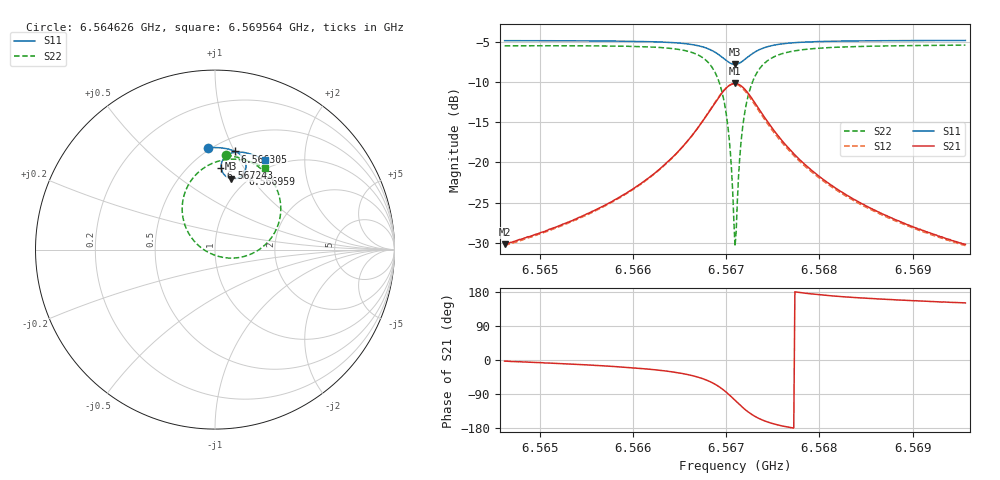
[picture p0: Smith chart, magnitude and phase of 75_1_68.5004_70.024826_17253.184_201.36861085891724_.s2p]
#  HZ  S  RI  R  50.00
! Rohde & Schwarz Vector Network Analyzer
! Rohde-Schwarz,ZNB20-2Port,1311601062101988,3.16
! Created: UTC 3/20/2024, 4:51:54 PM
! freq[Hz]  re:S11  im:S11  re:S21  im:S21  re:S12  im:S12  re:S22  im:S22
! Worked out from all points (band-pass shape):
!   401 points, 6.564626 GHz to 6.569564 GHz, reference 50 ohm
!   highest |S21| = -10.21 dB at 6.567095 GHz (marker M1); lowest = -30.2 dB at 6.564626 GHz (marker M2)
!   |S21| within 3 dB of the highest: 6.566847 GHz to 6.567342 GHz (495 kHz wide, 0.00754 % of centre)
!   lowest |S11| = -7.8 dB at 6.567095 GHz (marker M3), VSWR 2.36, Z = 42.2 + j40 ohm
!   |S11| at or under -10 dB: nowhere
!   |S22| runs from -30.4 to -5.4 dB; largest |S21 - S12| = 0.016
!   S11 on the Smith chart (normalised r, x): 6.564626 GHz: 0.48, +0.81; 6.566305 GHz: 0.63, +1.01; 6.566959 GHz: 0.90, +0.95; 6.567243 GHz: 0.70, +0.80; 6.569564 GHz: 0.88, +1.30
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6.5646256e9  -0.0411 0.568  0.0308 -0.00155  0.0304 -0.00209  0.062 0.5255
6.5654528e9  0.0283 0.5673  0.0452 -0.0098  0.0444 -0.0103  0.145 0.5084
6.56628e9  0.1094 0.5485  0.0802 -0.0408  0.0791 -0.0419  0.2659 0.4432
6.5663047e9  0.1123 0.5471  0.082 -0.0429  0.0808 -0.0439  0.2709 0.4391
6.566564e9  0.1445 0.5259  0.1042 -0.0792  0.1026 -0.0809  0.329 0.3674
6.5667615e9  0.1683 0.4901  0.1176 -0.1422  0.1148 -0.1453  0.366 0.2456
6.5668726e9  0.172 0.4545  0.1053 -0.2047  0.0999 -0.2091  0.3471 0.1262
6.566959e9  0.1571 0.4202  0.0628 -0.2637  0.053 -0.2674  0.2676 0.0163
6.5670208e9  0.1313 0.4  0.00429 -0.2961  -0.00897 -0.2964  0.1582 -0.0393
6.5670455e9  0.1175 0.3954  -0.025 -0.302  -0.0392 -0.2999  0.1044 -0.0472
6.5670825e9  0.095 0.3944  -0.0717 -0.2999  -0.0858 -0.2944  0.0207 -0.0381
6.5670949e9  0.0874 0.3957  -0.087 -0.2962  -0.1009 -0.2895  -0.00628 -0.0295
6.5671196e9  0.0732 0.4008  -0.1165 -0.2844  -0.129 -0.2751  -0.0565 -0.00423
6.5671442e9  0.0603 0.4087  -0.1423 -0.2672  -0.1531 -0.2561  -0.0995 0.0299
6.5671689e9  0.0501 0.4189  -0.1635 -0.2463  -0.1721 -0.2338  -0.1335 0.07
6.567206e9  0.0395 0.4363  -0.1861 -0.2114  -0.1914 -0.198  -0.1669 0.1347
6.567243e9  0.0345 0.4543  -0.198 -0.176  -0.2001 -0.163  -0.1815 0.1981
6.5673418e9  0.0409 0.4942  -0.195 -0.0987  -0.1926 -0.0892  -0.1622 0.3319
6.5674899e9  0.0683 0.5262  -0.1599 -0.0363  -0.1562 -0.031  -0.0865 0.4361
6.5679221e9  0.1362 0.5438  -0.0882 0.00907  -0.0859 0.0105  0.0704 0.5024
6.5687493e9  0.2174 0.5261  -0.0429 0.016  -0.0419 0.0162  0.2028 0.4877
6.5695642e9  0.2796 0.4979  -0.0269 0.0151  -0.0262 0.0153  0.2797 0.4552
